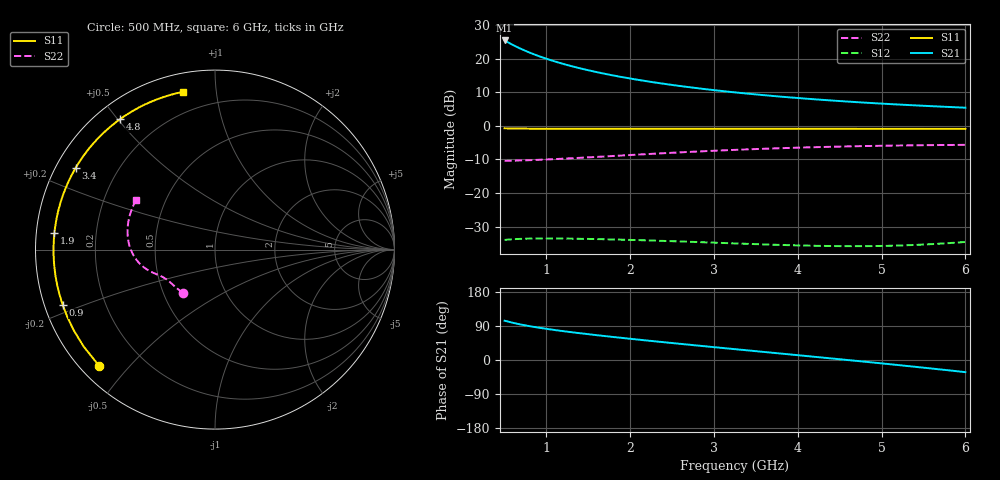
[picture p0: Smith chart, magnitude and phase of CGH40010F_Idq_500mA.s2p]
! AWR Design Environment (4847) Thu Apr 08 10:53:43 2010
! CGH40010F rev 6, Vdd=28 volts; Vgs=-2.25 volts; Idq=500mA
! Ports: 2, Freqs: 56
# GHz S MA R 50
!Freq  MagS11  AngS11  MagS21  AngS21  MagS12  AngS12  MagS22  AngS22
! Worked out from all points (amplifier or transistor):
!   56 points, 500 MHz to 6 GHz, reference 50 ohm
!   highest |S21| = 25.4 dB at 500 MHz (marker M1)
!   |S21| within 3 dB of that: start of sweep to 740.9 MHz
!   unconditionally stable (mu >= 1): 3.123 GHz to end of sweep
!   at 1.4 GHz: K = 0.39, MSG = 25.4 dB, |S12| = -33.7 dB
!   at 3.3 GHz: K = 1.07, MAG = 20.8 dB, |S12| = -35.1 dB
!   at 6 GHz: K = 1.84, MAG = 14.7 dB, |S12| = -34.6 dB
!   S11 on the Smith chart (normalised r, x): 500 MHz: 0.05, -0.41; 900 MHz: 0.05, -0.18; 1.9 GHz: 0.05, +0.05; 3.4 GHz: 0.06, +0.27; 4.8 GHz: 0.07, +0.51; 6 GHz: 0.09, +0.81
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0.5  0.9141 -135.0  18.57 103.7  0.02 18.4  0.3003 -126.8
0.6  0.9094 -143.6  15.88 98.0  0.02047 13.7  0.3019 -133.5
0.7  0.9064 -150.2  13.83 93.3  0.02073 9.9  0.3042 -138.4
0.8  0.9043 -155.6  12.23 89.2  0.02089 6.8  0.3071 -142.1
0.9  0.9029 -160.1  10.95 85.6  0.02096 4.1  0.3106 -144.9
1  0.9019 -163.9  9.906 82.2  0.02098 1.7  0.3144 -147.2
1.1  0.9011 -167.3  9.04 79.1  0.02096 -0.4  0.3186 -149.1
1.2  0.9006 -170.3  8.311 76.2  0.02092 -2.3  0.3231 -150.7
1.3  0.9002 -173.0  7.689 73.4  0.02085 -4.1  0.3279 -152.1
1.5  0.8997 -177.8  6.685 68.1  0.02066 -7.3  0.3382 -154.4
1.7  0.8995 178.0  5.911 63.1  0.02042 -10.1  0.3492 -156.4
1.9  0.8995 174.1  5.298 58.3  0.02013 -12.7  0.3606 -158.3
2.1  0.8995 170.5  4.8 53.7  0.01982 -15.0  0.3723 -160.1
2.4  0.8996 165.5  4.208 46.9  0.0193 -18.0  0.39 -162.9
2.8  0.8998 159.1  3.619 38.2  0.01856 -21.2  0.4129 -166.9
3.3  0.9 151.2  3.09 27.5  0.01764 -24.1  0.4396 -172.2
3.4  0.9 149.6  3.003 25.4  0.01746 -24.5  0.4446 -173.4
3.8  0.8999 143.2  2.708 16.9  0.01682 -25.5  0.463 -178.2
4.2  0.8995 136.6  2.474 8.4  0.01635 -25.6  0.479 176.7
4.8  0.8987 126.0  2.206 -4.5  0.01614 -24.2  0.498 168.2
5.1  0.8982 120.3  2.1 -11.2  0.01636 -23.2  0.5053 163.6
6  0.8966 101.5  1.856 -32.0  0.01862 -21.0  0.519 147.9
